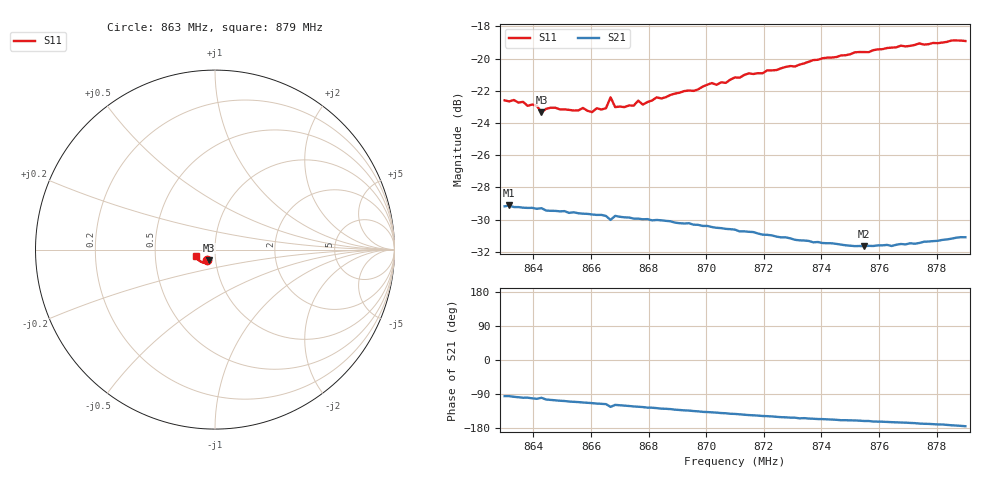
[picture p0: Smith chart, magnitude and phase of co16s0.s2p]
# HZ S RI R 50
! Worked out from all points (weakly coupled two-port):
!   101 points, 863 MHz to 879 MHz, reference 50 ohm
!   highest |S21| = -29.11 dB at 863.16 MHz (marker M1); lowest = -31.6 dB at 875.48 MHz (marker M2)
!   lowest |S11| = -23.3 dB at 864.28 MHz (marker M3), VSWR 1.15, Z = 46.2 - j5.39 ohm
!   |S11| at or under -10 dB: start of sweep to end of sweep
!   S12 and S22 are empty: the file has one direction only
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8.63e8  -0.0471 -0.0574  -0.00322 -0.0346  0 0  0 0
8.6316e8  -0.0449 -0.0584  -0.00325 -0.0349  0 0  0 0
8.6412e8  -0.0446 -0.0557  -0.00736 -0.0334  0 0  0 0
8.6428e8  -0.0358 -0.058  -0.00578 -0.0338  0 0  0 0
8.646e8  -0.0417 -0.0567  -0.00887 -0.0325  0 0  0 0
8.6572e8  -0.0395 -0.0582  -0.0124 -0.0306  0 0  0 0
8.6604e8  -0.0376 -0.057  -0.0133 -0.03  0 0  0 0
8.6652e8  -0.037 -0.0597  -0.0145 -0.0291  0 0  0 0
8.6668e8  -0.0468 -0.0597  -0.0175 -0.0263  0 0  0 0
8.6684e8  -0.0374 -0.06  -0.0155 -0.0286  0 0  0 0
8.6748e8  -0.0368 -0.0613  -0.0171 -0.0269  0 0  0 0
8.6764e8  -0.0392 -0.0628  -0.0175 -0.0266  0 0  0 0
8.678e8  -0.0373 -0.0616  -0.0178 -0.0262  0 0  0 0
8.6828e8  -0.0389 -0.0651  -0.019 -0.0252  0 0  0 0
8.6844e8  -0.0397 -0.0639  -0.0196 -0.0247  0 0  0 0
8.702e8  -0.0464 -0.07  -0.0223 -0.02  0 0  0 0
8.7068e8  -0.0472 -0.0696  -0.0228 -0.0188  0 0  0 0
8.71e8  -0.0504 -0.0714  -0.0233 -0.018  0 0  0 0
8.7372e8  -0.0678 -0.0721  -0.0244 -0.0113  0 0  0 0
8.7548e8  -0.082 -0.0653  -0.0247 -0.00855  0 0  0 0
8.7644e8  -0.0908 -0.0589  -0.0252 -0.00721  0 0  0 0
8.79e8  -0.1068 -0.0382  -0.0278 -0.00255  0 0  0 0
